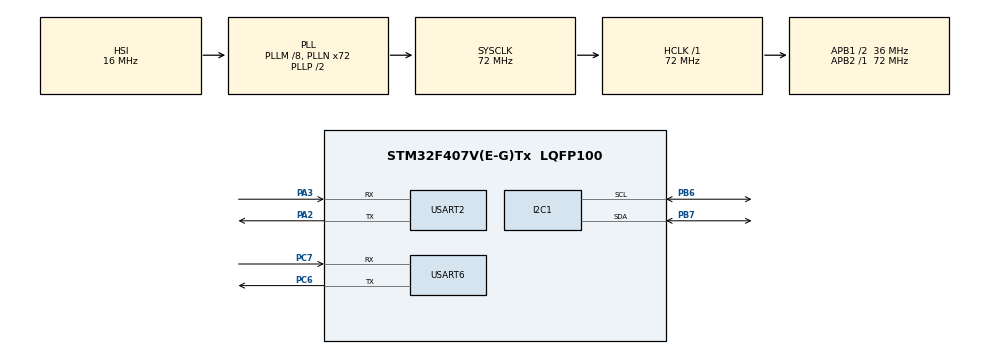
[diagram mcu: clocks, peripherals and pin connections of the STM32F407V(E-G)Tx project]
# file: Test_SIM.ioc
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Mcu.Family=STM32F4
Mcu.Name=STM32F407V(E-G)Tx
Mcu.Package=LQFP100
NVIC.PriorityGroup=NVIC_PRIORITYGROUP_4
PA13.Mode=Serial_Wire
PA13.Signal=SYS_JTMS-SWDIO
PA14.Mode=Serial_Wire
PA14.Signal=SYS_JTCK-SWCLK
PA2.Mode=Asynchronous
PA2.Signal=USART2_TX
PA3.Mode=Asynchronous
PA3.Signal=USART2_RX
PB6.Mode=I2C
PB6.Signal=I2C1_SCL
PB7.Mode=I2C
PB7.Signal=I2C1_SDA
PC6.Mode=Asynchronous
PC6.Signal=USART6_TX
PC7.Mode=Asynchronous
PC7.Signal=USART6_RX
PH0-OSC_IN.Mode=HSE-External-Oscillator
PH0-OSC_IN.Signal=RCC_OSC_IN
PH1-OSC_OUT.Mode=HSE-External-Oscillator
PH1-OSC_OUT.Signal=RCC_OSC_OUT
ProjectManager.HeapSize=0x200
ProjectManager.StackSize=0x400
ProjectManager.TargetToolchain=Makefile
RCC.48MHZClocksFreq_Value=36000000
RCC.AHBFreq_Value=72000000
RCC.APB1CLKDivider=RCC_HCLK_DIV2
RCC.APB1Freq_Value=36000000
RCC.APB1TimFreq_Value=72000000
RCC.APB2Freq_Value=72000000
RCC.APB2TimFreq_Value=72000000
RCC.CortexFreq_Value=72000000
RCC.HCLKFreq_Value=72000000
RCC.HSE_VALUE=25000000
RCC.HSI_VALUE=16000000
RCC.LSE_VALUE=32768
RCC.PLLM=8
RCC.PLLN=72
RCC.SYSCLKFreq_VALUE=72000000
RCC.SYSCLKSource=RCC_SYSCLKSOURCE_PLLCLK
RCC.VCOOutputFreq_Value=144000000
USART2.VirtualMode=VM_ASYNC
USART6.VirtualMode=VM_ASYNC
board=custom

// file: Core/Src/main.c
/* USER CODE BEGIN Header */
/**
  ******************************************************************************
  * @file           : main.c
  * @brief          : Main program body
  ******************************************************************************
  * @attention
  *
  * Copyright (c) 2024 STMicroelectronics.
  * All rights reserved.
  *
  * This software is licensed under terms that can be found in the LICENSE file
  * in the root directory of this software component.
  * If no LICENSE file comes with this software, it is provided AS-IS.
  *
  ******************************************************************************
  */
/* USER CODE END Header */
#include "main.h"

/* USER CODE BEGIN Includes */
#include <string.h>
#include <stdio.h>
#include <time.h>
#include "SHT.h"
#include "bmp280.h"
#include <stdlib.h>
#define I2C_TIMEOUT_BUSY_FLAG 1000
/* USER CODE END Includes */

I2C_HandleTypeDef hi2c1;

UART_HandleTypeDef huart2;
UART_HandleTypeDef huart6;

void SystemClock_Config(void);
static void MX_GPIO_Init(void);
static void MX_USART2_UART_Init(void);
static void MX_USART6_UART_Init(void);
static void MX_I2C1_Init(void);

/* USER CODE BEGIN 0 */
const char apn[] = "v-internet";                                 // Change this to your Provider details
const char server[] = "huyed2.assfa.net";                        // Change this to your domain
const int port = 443;
const char resource[] = "/DoAn2.php"; // Endpoint của API trên server
const uint32_t timeOut = 15000;        // Th�?i gian ch�? cho các lệnh AT (ms)
char content[256];                      // Nội dung dữ liệu POST
char ATcommand[80];                    // Chuỗi lệnh AT được xây dựng
uint8_t buffer[100] = {0};             // Bộ đệm nhận dữ liệu từ module SIM
uint32_t previousTick;                 // Biến lưu th�?i gian trước đó
float temperature;
float humidity;
uint16_t dust;
// uint16_t airperssure;
// uint16_t temperature;
// uint16_t humidity;
// uint16_t nodeid;
uint16_t longitude;
uint16_t latitude;
char nodeid[10] = "B1EFRT6"; // nodeid là chuỗi

/*Cảm biến ÁP suất BMP280*/
BMP280_HandleTypedef bmp280;
bmp280_params_t bmp280_params;

float airperssure;
float temperature_BMP280;
void I2C_ResetBus(I2C_HandleTypeDef *hi2c)
{
  if (__HAL_I2C_GET_FLAG(hi2c, I2C_FLAG_BUSY))
  {
    HAL_I2C_DeInit(hi2c); // Hủy cấu hình hiện tại của I2C
    HAL_Delay(10);        // Chờ một thời gian để ổn định
    HAL_I2C_Init(hi2c);   // Khởi tạo lại I2C
  }
}
/*Cảm biến ÁP suất BMP280*/

/*RTC DS3231*/
#define DS3231_ADDRESS 0xD0

// Convert normal decimal numbers to binary coded decimal
uint8_t decToBcd(int val)
{
  return (uint8_t)((val / 10 * 16) + (val % 10));
}
// Convert binary coded decimal to normal decimal numbers
int bcdToDec(uint8_t val)
{
  return (int)((val / 16 * 10) + (val % 16));
}

typedef struct
{
  uint8_t seconds;
  uint8_t minutes;
  uint8_t hour;
  uint8_t dayofweek;
  uint8_t dayofmonth;
  uint8_t month;
  uint8_t year;
} TIME_T;

TIME_T time;
// function to set time
void Set_Time(uint8_t sec, uint8_t min, uint8_t hour, uint8_t dow, uint8_t dom, uint8_t month, uint8_t year)
{
  uint8_t set_time[7];
  set_time[0] = decToBcd(sec);
  set_time[1] = decToBcd(min);
  set_time[2] = decToBcd(hour);
  set_time[3] = decToBcd(dow);
  set_time[4] = decToBcd(dom);
  set_time[5] = decToBcd(month);
  set_time[6] = decToBcd(year);

  HAL_I2C_Mem_Write(&hi2c1, DS3231_ADDRESS, 0x00, 1, set_time, 7, 1000);
}
void Get_Time(void)
{
  uint8_t get_time[7];
  HAL_I2C_Mem_Read(&hi2c1, DS3231_ADDRESS, 0x00, 1, get_time, 7, 1000);
  time.seconds = bcdToDec(get_time[0]);
  time.minutes = bcdToDec(get_time[1]);
  time.hour = bcdToDec(get_time[2]);
  time.dayofweek = bcdToDec(get_time[3]);
  time.dayofmonth = bcdToDec(get_time[4]);
  time.month = bcdToDec(get_time[5]);
  time.year = bcdToDec(get_time[6]);
}
float Get_Temp(void)
{
  uint8_t temp[2];

  HAL_I2C_Mem_Read(&hi2c1, DS3231_ADDRESS, 0x11, 1, temp, 2, 1000);
  return ((temp[0]) + (temp[1] >> 6) / 4.0);
}
void force_temp_conv(void)
{
  uint8_t status = 0;
  uint8_t control = 0;
  HAL_I2C_Mem_Read(&hi2c1, DS3231_ADDRESS, 0x0F, 1, &status, 1, 100); // read status register
  if (!(status & 0x04))
  {
    HAL_I2C_Mem_Read(&hi2c1, DS3231_ADDRESS, 0x0E, 1, &control, 1, 100); // read control register
    HAL_I2C_Mem_Write(&hi2c1, DS3231_ADDRESS, 0x0E, 1, (uint8_t *)(control | (0x20)), 1, 100);
  }
}
float TEMP;
char bufferDS3231[30];
/*RTC DS3231*/

// Hàm gửi lệnh AT đến module SIM và nhận phản hồi
void SIMTransmit(char *cmd)
{
  memset(buffer, 0, sizeof(buffer));                             // Xóa bộ đệm trước khi sử dụng
  HAL_UART_Transmit(&huart2, (uint8_t *)cmd, strlen(cmd), 1000); // Gửi lệnh AT qua UART2
  HAL_UART_Receive(&huart2, buffer, 100, 1000);                  // Nhận phản hồi từ module SIM

  // Gửi phản hồi nhận được qua UART6 để debug
  HAL_UART_Transmit(&huart6, (uint8_t *)"Response: ", strlen("Response: "), 1000);
  HAL_UART_Transmit(&huart6, buffer, strlen((char *)buffer), 1000);
  HAL_UART_Transmit(&huart6, (uint8_t *)"\r\n", 2, 1000);
}

// Hàm kiểm tra cấu hình APN trên module SIM
void checkAPN(void)
{
  uint8_t APNisOK = 0;
  previousTick = HAL_GetTick(); // Ghi nhận th�?i gian bắt đầu kiểm tra

  while (!APNisOK && previousTick + timeOut > HAL_GetTick())
  {
    SIMTransmit("AT+CGDCONT?\r\n"); // Gửi lệnh kiểm tra cấu hình APN hiện tại

    if (strstr((char *)buffer, apn)) // Kiểm tra phản hồi chứa thông tin APN đúng
    {
      APNisOK = 1;
      HAL_UART_Transmit(&huart6, (uint8_t *)"APN duoc cau hinh thanh cong!.\r\n", strlen("APN duoc cau hinh thanh cong!.\r\n"), 1000);
    }
    else
    {
      HAL_UART_Transmit(&huart6, (uint8_t *)"APN cau hinh sai...\r\n", strlen("APN cau hinh sai...\r\n"), 1000);
      sprintf(ATcommand, "AT+CGDCONT=1,\"IP\",\"%s\",\"0.0.0.0\",0,0\r\n", apn); // Lệnh cấu hình lại APN
      SIMTransmit(ATcommand);
    }
    HAL_Delay(1000); // �?ợi 1 giây trước khi thử lại
  }

  if (!APNisOK) // Nếu không thành công sau th�?i gian ch�?
  {
    HAL_UART_Transmit(&huart6, (uint8_t *)"APN configuration failed.\r\n", strlen("APN configuration failed.\r\n"), 1000);
  }
}

void httpPost(void)
{
  // Cấu hình HTTP
  SIMTransmit("AT+HTTPINIT\r\n"); // Khởi tạo HTTP
  HAL_Delay(2000);                // �?ợi một chút sau khi khởi tạo

  // Cấu hình URL (Server và Endpoint)
  sprintf(ATcommand, "AT+HTTPPARA=\"URL\",\"https://%s%s\"\r\n", server, resource);
  SIMTransmit(ATcommand); // Cấu hình URL của server
  HAL_Delay(2000);

  // Cấu hình loại nội dung (Content-Type)
  SIMTransmit("AT+HTTPPARA=\"CONTENT\",\"application/x-www-form-urlencoded\"\r\n");
  HAL_Delay(2000);

  // Xác định kích thước dữ liệu POST
  sprintf(ATcommand, "AT+HTTPDATA=%d,10000\r\n", strlen(content)); // Th�?i gian ch�? 10000ms
  SIMTransmit(ATcommand);
  HAL_Delay(2000);

  // Gửi dữ liệu POST
  SIMTransmit(content); // Nội dung sẽ được gửi dưới dạng body của POST
  HAL_Delay(2000);

  // Gửi lệnh POST đến server
  SIMTransmit("AT+HTTPACTION=1\r\n"); // 1 là HTTP POST
  HAL_Delay(5000);                    // �?ợi phản hồi từ server

  // Kiểm tra mã trạng thái HTTP từ server (200 OK)
  if (strstr((char *)buffer, "+HTTPACTION: 1,200"))
  {
    HAL_UART_Transmit(&huart6, (uint8_t *)"POST success!!!!\r\n", strlen("POST success.\r\n"), 1000);
  }
  else
  {
    HAL_UART_Transmit(&huart6, (uint8_t *)"POST failed.\r\n", strlen("POST failed.\r\n"), 1000);
  }

  // �?óng HTTP
  SIMTransmit("AT+HTTPTERM\r\n");
  HAL_Delay(2000);
}

/* USER CODE END 0 */

int main(void)
{

  /* MCU Configuration--------------------------------------------------------*/

  /* Reset of all peripherals, Initializes the Flash interface and the Systick. */
  HAL_Init();

  /* Configure the system clock */
  SystemClock_Config();

  /* Initialize all configured peripherals */
  MX_GPIO_Init();
  MX_USART2_UART_Init();
  MX_USART6_UART_Init();
  MX_I2C1_Init();
  /* USER CODE BEGIN 2 */
  SHT31_Config(SHT31_ADDRESS_A, &hi2c1);
  // Kiểm tra và reset bus I2C nếu có lỗi
  I2C_ResetBus(&hi2c1);
  // Đảm bảo rằng I2C không còn bận trước khi tiếp tục
  while (hi2c1.State != HAL_I2C_STATE_READY)
  {
    // Có thể thêm một delay nhỏ nếu cần thiết
    HAL_Delay(1); // Thử lại sau 1ms
  }

  bmp280.i2c = &hi2c1;                // hi2c1 là biến I2C đã khởi tạo
  bmp280.addr = BMP280_I2C_ADDRESS_0; // hoặc BME280_I2C_ADDRESS_1

  // Khởi tạo các tham số mặc định cho BMP280
  bmp280_init_default_params(&bmp280_params);

  // Khởi tạo BMP280
  if (!bmp280_init(&bmp280, &bmp280_params))
  {
    // Xử lý lỗi khởi tạo
    while (1)
      ;
  }

  // Khởi tạo RTC
  rtc_init(&hi2c1);

  HAL_Delay(2000);
  checkAPN(); // Kiểm tra APN trước khi sử dụng HTTP POST

  /* USER CODE END 2 */

  /* Infinite loop */
  while (1)
  {

    /* USER CODE BEGIN 3 */
    // temperature = rand() % 41 + 20; // random giá trị từ 20 đến 60
    // humidity = rand() % 51 + 50;    // random giá trị từ 50 đến 100
    dust = 101;            // random giá trị từ 0 đến 100
    airperssure = 30; // random giá trị từ 30 đến 50
    longitude = 100;
    latitude = 200;
    // dust = rand() % 101;            // random giá trị từ 0 đến 100
    // airperssure = rand() % 21 + 30; // random giá trị từ 30 đến 50
    // longitude = rand() % 201+100;
    // latitude = rand() % 201+100;
    if (SHT31_GetData(SHT31_Periodic, SHT31_Medium, SHT31_NON_Stretch, SHT31_1) == SHT31_OK)
    {
      temperature = SHT31_GetTemperature();
      humidity = SHT31_GetHumidity();
    }
    HAL_Delay(2000);
    bmp280_read_float(&bmp280, &temperature_BMP280, &airperssure);
    sprintf(content, "temperature=%.2f&humidity=%.2f&dust=%d&airperssure=%.2f&nodeid=%s&longitude=%d&latitude=%d",
            temperature, humidity, dust, airperssure, nodeid, longitude, latitude);
    // sprintf(content, "temperature=%.2f&humidity=%.2f&dust=%d&airperssure=%d&nodeid=%s&longitude=%d&latitude=%d",
    //         temperature, humidity, dust, airperssure, nodeid, longitude, latitude);
    // sprintf(content, "temperature=%d&humidity=%d&dust=%d&airperssure=%d",temperature, humidity, dust, airperssure);
    httpPost();

  }
  /* USER CODE END 3 */
}

void SystemClock_Config(void)
{
  RCC_OscInitTypeDef RCC_OscInitStruct = {0};
  RCC_ClkInitTypeDef RCC_ClkInitStruct = {0};

  /** Configure the main internal regulator output voltage
  */
  __HAL_RCC_PWR_CLK_ENABLE();
  __HAL_PWR_VOLTAGESCALING_CONFIG(PWR_REGULATOR_VOLTAGE_SCALE1);

  /** Initializes the RCC Oscillators according to the specified parameters
  * in the RCC_OscInitTypeDef structure.
  */
  RCC_OscInitStruct.OscillatorType = RCC_OSCILLATORTYPE_HSI;
  RCC_OscInitStruct.HSIState = RCC_HSI_ON;
  RCC_OscInitStruct.HSICalibrationValue = RCC_HSICALIBRATION_DEFAULT;
  RCC_OscInitStruct.PLL.PLLState = RCC_PLL_ON;
  RCC_OscInitStruct.PLL.PLLSource = RCC_PLLSOURCE_HSI;
  RCC_OscInitStruct.PLL.PLLM = 8;
  RCC_OscInitStruct.PLL.PLLN = 72;
  RCC_OscInitStruct.PLL.PLLP = RCC_PLLP_DIV2;
  RCC_OscInitStruct.PLL.PLLQ = 4;
  if (HAL_RCC_OscConfig(&RCC_OscInitStruct) != HAL_OK)
  {
    Error_Handler();
  }

  /** Initializes the CPU, AHB and APB buses clocks
  */
  RCC_ClkInitStruct.ClockType = RCC_CLOCKTYPE_HCLK|RCC_CLOCKTYPE_SYSCLK
                              |RCC_CLOCKTYPE_PCLK1|RCC_CLOCKTYPE_PCLK2;
  RCC_ClkInitStruct.SYSCLKSource = RCC_SYSCLKSOURCE_PLLCLK;
  RCC_ClkInitStruct.AHBCLKDivider = RCC_SYSCLK_DIV1;
  RCC_ClkInitStruct.APB1CLKDivider = RCC_HCLK_DIV2;
  RCC_ClkInitStruct.APB2CLKDivider = RCC_HCLK_DIV1;

  if (HAL_RCC_ClockConfig(&RCC_ClkInitStruct, FLASH_LATENCY_2) != HAL_OK)
  {
    Error_Handler();
  }
}

static void MX_I2C1_Init(void)
{

  hi2c1.Instance = I2C1;
  hi2c1.Init.ClockSpeed = 100000;
  hi2c1.Init.DutyCycle = I2C_DUTYCYCLE_2;
  hi2c1.Init.OwnAddress1 = 0;
  hi2c1.Init.AddressingMode = I2C_ADDRESSINGMODE_7BIT;
  hi2c1.Init.DualAddressMode = I2C_DUALADDRESS_DISABLE;
  hi2c1.Init.OwnAddress2 = 0;
  hi2c1.Init.GeneralCallMode = I2C_GENERALCALL_DISABLE;
  hi2c1.Init.NoStretchMode = I2C_NOSTRETCH_DISABLE;
  if (HAL_I2C_Init(&hi2c1) != HAL_OK)
  {
    Error_Handler();
  }

}

static void MX_USART2_UART_Init(void)
{

  huart2.Instance = USART2;
  huart2.Init.BaudRate = 115200;
  huart2.Init.WordLength = UART_WORDLENGTH_8B;
  huart2.Init.StopBits = UART_STOPBITS_1;
  huart2.Init.Parity = UART_PARITY_NONE;
  huart2.Init.Mode = UART_MODE_TX_RX;
  huart2.Init.HwFlowCtl = UART_HWCONTROL_NONE;
  huart2.Init.OverSampling = UART_OVERSAMPLING_16;
  if (HAL_UART_Init(&huart2) != HAL_OK)
  {
    Error_Handler();
  }

}

static void MX_USART6_UART_Init(void)
{

  huart6.Instance = USART6;
  huart6.Init.BaudRate = 115200;
  huart6.Init.WordLength = UART_WORDLENGTH_8B;
  huart6.Init.StopBits = UART_STOPBITS_1;
  huart6.Init.Parity = UART_PARITY_NONE;
  huart6.Init.Mode = UART_MODE_TX_RX;
  huart6.Init.HwFlowCtl = UART_HWCONTROL_NONE;
  huart6.Init.OverSampling = UART_OVERSAMPLING_16;
  if (HAL_UART_Init(&huart6) != HAL_OK)
  {
    Error_Handler();
  }

}

static void MX_GPIO_Init(void)
{

  /* GPIO Ports Clock Enable */
  __HAL_RCC_GPIOH_CLK_ENABLE();
  __HAL_RCC_GPIOA_CLK_ENABLE();
  __HAL_RCC_GPIOC_CLK_ENABLE();
  __HAL_RCC_GPIOB_CLK_ENABLE();

}

void Error_Handler(void)
{
  __disable_irq();
  while (1)
  {
  }
}
